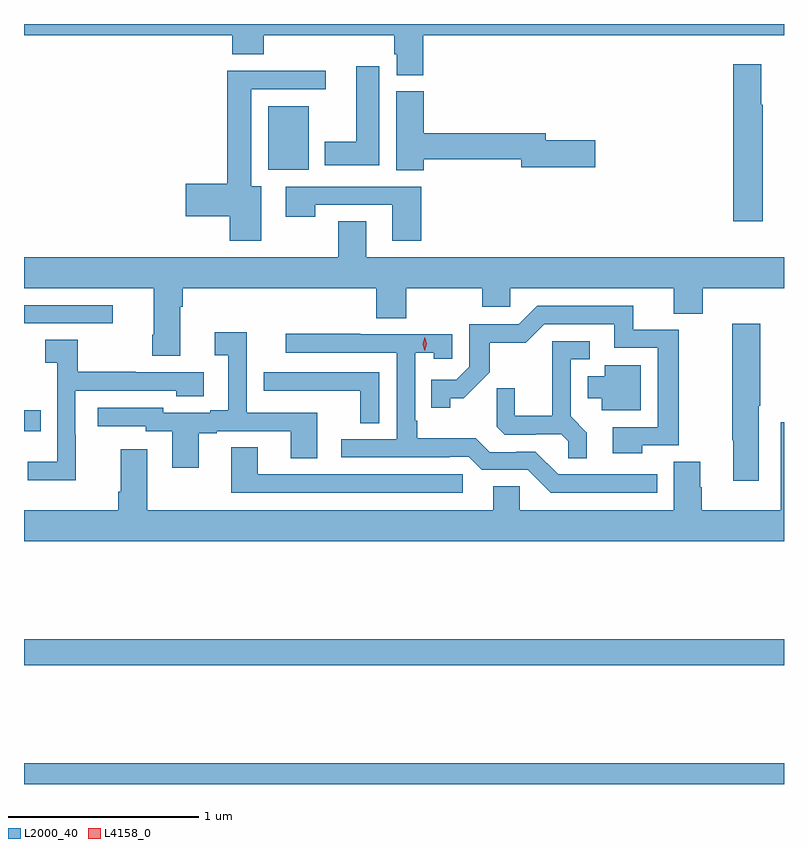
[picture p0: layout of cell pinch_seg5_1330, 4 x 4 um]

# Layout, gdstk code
import gdstk
lib = gdstk.Library(unit=1e-6, precision=1e-09)
def R(c, l, rs):  # rectangles x0, y0, x1, y1
    for r in rs: c.add(gdstk.rectangle(r[:2], r[2:], *l))
def P(c, l, *ps):  # polygons
    for p in ps: c.add(gdstk.Polygon(p, *l))
L2000_40 = (2000, 40)
L4158_0 = (4158, 0)

pinch_seg5_1330 = lib.new_cell('pinch_seg5_1330')
R(pinch_seg5_1330, L2000_40, [(279.72,880.791,283.72,880.9), (279.72,881.416,283.72,881.552), (279.72,882.647,279.809,882.757), (279.72,883.215,280.186,883.311), (281.006,884.024,281.218,884.359)])
P(pinch_seg5_1330, L2000_40, [(279.72,884.732),(280.817,884.732),(280.817,884.633),(280.982,884.633),(280.982,884.732),(281.669,884.732),(281.669,884.631),(281.681,884.631),(281.681,884.521),(281.822,884.521),(281.822,884.732),(283.72,884.732),(283.72,884.791),(279.72,884.791)],
  [(283.608,884.365),(283.6,884.365),(283.6,884.578),(283.454,884.578),(283.454,883.752),(283.608,883.752)],
  [(281.59,884.569),(281.468,884.569),(281.468,884.17),(281.303,884.17),(281.303,884.048),(281.59,884.048)],
  [(280.969,883.936),(280.915,883.936),(280.915,884.448),(281.308,884.448),(281.308,884.546),(280.79,884.546),(280.79,883.949),(280.572,883.949),(280.572,883.778),(280.802,883.778),(280.802,883.65),(280.969,883.65)],
  [(281.825,884.08),(282.338,884.08),(282.338,884.038),(282.727,884.038),(282.727,884.18),(282.466,884.18),(282.466,884.216),(281.825,884.216),(281.825,884.436),(281.678,884.436),(281.678,884.02),(281.825,884.02)],
  [(281.81,883.935),(281.097,883.935),(281.097,883.776),(281.253,883.776),(281.253,883.839),(281.657,883.839),(281.657,883.65),(281.81,883.65)],
  [(280.543,883.304),(280.556,883.304),(280.556,883.4),(281.573,883.4),(281.573,883.243),(281.733,883.243),(281.733,883.4),(282.133,883.4),(282.133,883.302),(282.279,883.302),(282.279,883.4),(283.139,883.4),(283.139,883.267),(283.292,883.267),(283.292,883.4),(283.72,883.4),(283.72,883.564),(281.521,883.564),(281.521,883.754),(281.374,883.754),(281.374,883.564),(279.72,883.564),(279.72,883.4),(280.403,883.4),(280.403,883.156),(280.396,883.156),(280.396,883.044),(280.543,883.044)],
  [(282.975,882.573),(283.165,882.573),(283.165,883.182),(282.926,883.182),(282.926,883.308),(282.42,883.308),(282.324,883.212),(282.063,883.212),(282.063,882.987),(281.994,882.918),(281.863,882.918),(281.863,882.771),(281.964,882.771),(281.964,882.821),(282.034,882.821),(282.172,882.958),(282.172,883.114),(282.361,883.114),(282.459,883.212),(282.827,883.212),(282.827,883.086),(283.056,883.086),(283.056,882.669),(282.819,882.669),(282.819,882.533),(282.975,882.533)],
  [(283.588,882.781),(283.596,882.781),(283.596,883.213),(283.447,883.213),(283.447,882.599),(283.454,882.599),(283.454,882.387),(283.588,882.387)],
  [(280.639,882.636),(280.735,882.636),(280.735,882.648),(281.123,882.648),(281.123,882.505),(281.263,882.505),(281.263,882.744),(280.893,882.744),(280.893,883.168),(280.725,883.168),(280.725,883.048),(280.796,883.048),(280.796,882.757),(280.7,882.757),(280.7,882.744),(280.452,882.744),(280.452,882.771),(280.107,882.771),(280.107,882.675),(280.362,882.675),(280.362,882.648),(280.499,882.648),(280.499,882.456),(280.639,882.456)],
  [(283.054,882.42),(282.531,882.42),(282.411,882.54),(282.31,882.54),(282.31,882.537),(282.171,882.537),(282.098,882.61),(281.791,882.61),(281.791,882.703),(281.778,882.703),(281.778,883.061),(281.877,883.061),(281.877,883.029),(281.973,883.029),(281.973,883.158),(281.489,883.158),(281.489,883.161),(281.097,883.161),(281.097,883.062),(281.682,883.062),(281.682,882.606),(281.391,882.606),(281.391,882.51),(281.96,882.51),(281.96,882.513),(282.06,882.513),(282.129,882.444),(282.372,882.444),(282.492,882.324),(283.054,882.324)],
  [(279.993,882.629),(279.99,882.629),(279.99,882.861),(280.521,882.861),(280.521,882.833),(280.666,882.833),(280.666,882.957),(280.307,882.957),(280.307,882.96),(280.003,882.96),(280.003,883.13),(279.831,883.13),(279.831,883.009),(279.894,883.009),(279.894,882.487),(279.741,882.487),(279.741,882.389),(279.993,882.389)],
  [(282.683,882.641),(282.597,882.727),(282.597,883.026),(282.697,883.026),(282.697,883.122),(282.5,883.122),(282.5,882.73),(282.302,882.73),(282.302,882.873),(282.208,882.873),(282.208,882.671),(282.249,882.63),(282.414,882.63),(282.414,882.633),(282.548,882.633),(282.585,882.596),(282.585,882.505),(282.683,882.505)],
  [(282.967,882.994),(282.776,882.994),(282.776,882.937),(282.686,882.937),(282.686,882.821),(282.761,882.821),(282.761,882.758),(282.967,882.758)],
  [(281.589,882.957),(280.983,882.957),(280.983,882.862),(281.095,882.862),(281.095,882.861),(281.491,882.861),(281.491,882.691),(281.589,882.691)],
  [(283.72,882.694),(283.703,882.694),(283.703,882.232),(283.287,882.232),(283.287,882.354),(283.279,882.354),(283.279,882.488),(283.139,882.488),(283.139,882.232),(282.33,882.232),(282.33,882.359),(282.191,882.359),(282.191,882.232),(280.369,882.232),(280.369,882.553),(280.229,882.553),(280.229,882.328),(280.217,882.328),(280.217,882.232),(279.72,882.232),(279.72,882.068),(283.72,882.068)],
  [(282.028,882.42),(280.951,882.42),(280.951,882.563),(280.811,882.563),(280.811,882.324),(282.028,882.324)])
P(pinch_seg5_1330, L4158_0, [(281.83,883.071),(281.83,883.071),(281.819,883.106),(281.828,883.143),(281.828,883.143),(281.829,883.143),(281.839,883.107),(281.83,883.071)])

lib.write_gds('pinch_seg5_1330.gds')
